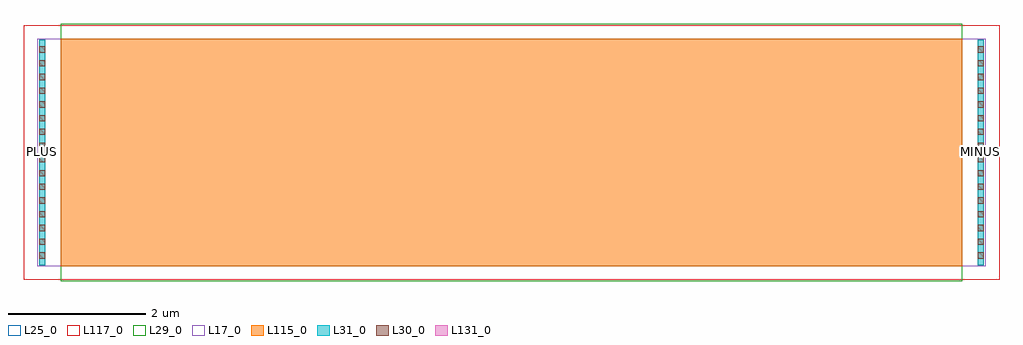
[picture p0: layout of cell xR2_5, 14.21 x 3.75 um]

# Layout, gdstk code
import gdstk
lib = gdstk.Library(unit=1e-6, precision=1e-09)
def R(c, l, rs):  # rectangles x0, y0, x1, y1
    for r in rs: c.add(gdstk.rectangle(r[:2], r[2:], *l))
def A(c, l, x, y, w, h, nx, ny, dx, dy):  # array of equal rectangles
    R(c, l, [(x+i*dx, y+j*dy, x+i*dx+w, y+j*dy+h) for i in range(nx) for j in range(ny)])
L17_0 = (17, 0)
L25_0 = (25, 0)
L29_0 = (29, 0)
L30_0 = (30, 0)
L31_0 = (31, 0)
L115_0 = (115, 0)
L117_0 = (117, 0)
L131_0 = (131, 0)

xr2_5 = lib.new_cell('xR2_5')
R(xr2_5, L17_0, [(0.2,0.22,14.01,3.53)])
R(xr2_5, L25_0, [(0,0.02,14.21,3.73)])
R(xr2_5, L29_0, [(0.54,0,13.67,3.75)])
A(xr2_5, L30_0, 0.23, 0.33, 0.09, 0.09, 1, 16, 0, 0.2)
A(xr2_5, L30_0, 13.89, 0.33, 0.09, 0.09, 1, 16, 0, 0.2)
R(xr2_5, L31_0, [(0.23,0.235,0.32,3.515), (13.89,0.235,13.98,3.515)])
R(xr2_5, L115_0, [(0.54,0.22,13.67,3.53)])
R(xr2_5, L117_0, [(0,0.02,14.21,3.73)])
R(xr2_5, L131_0, [(0.23,1.845,0.32,1.935), (13.89,1.845,13.98,1.935)])
xr2_5.add(gdstk.Label('PLUS', (0.275,1.89), layer=131, texttype=0))
xr2_5.add(gdstk.Label('MINUS', (13.935,1.89), layer=131, texttype=0))

lib.write_gds('xR2_5.gds')
